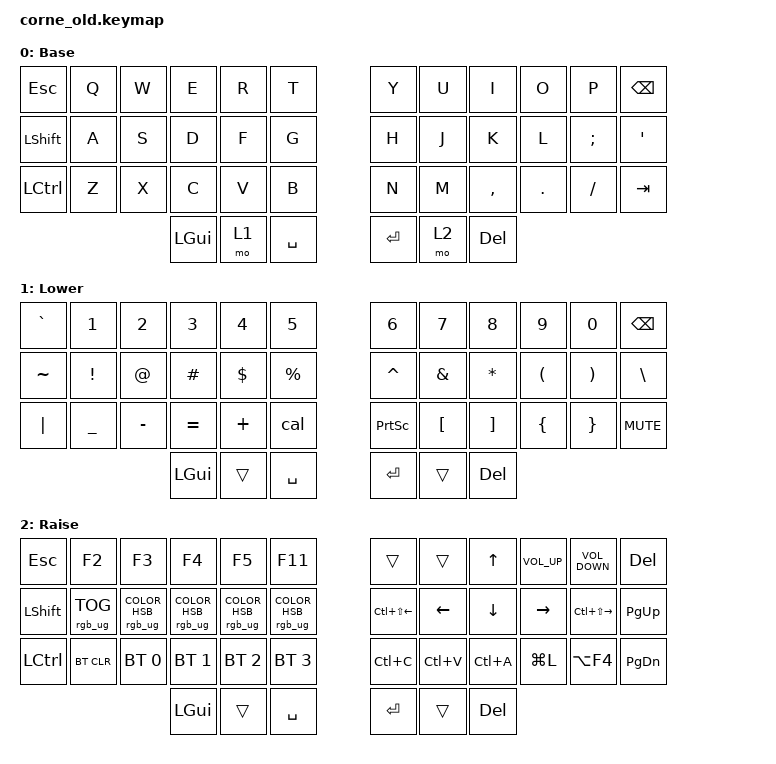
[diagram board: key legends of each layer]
/*
 * Copyright (c) 2020 The ZMK Contributors
 *
 * SPDX-License-Identifier: MIT
 */

#include <behaviors.dtsi>
#include <dt-bindings/zmk/bt.h>
#include <dt-bindings/zmk/keys.h>
#include <dt-bindings/zmk/rgb.h>

&led_strip { chain-length = <27>; };

/ {
    macros {
        cal: cal {
            compatible = "zmk,behavior-macro";
            #binding-cells = <0>;
            bindings = <&kp FSLH &kp C &kp A &kp L &kp I &kp F &kp I &kp C &kp A &kp C &kp I &kp O &kp N>;
            label = "CAL";
        };
    };

    keymap {
        compatible = "zmk,keymap";

        default_layer {
            // -----------------------------------------------------------------------------------------
            // |  TAB |  Q  |  W  |  E  |  R  |  T  |   |  Y  |  U   |  I  |  O  |  P  | BKSP |
            // | CTRL |  A  |  S  |  D  |  F  |  G  |   |  H  |  J   |  K  |  L  |  ;  |  '   |
            // | SHFT |  Z  |  X  |  C  |  V  |  B  |   |  N  |  M   |  ,  |  .  |  /  | ESC  |
            //                    | GUI | LWR | SPC |   | ENT | RSE  | ALT |

            display-name = "Base";
            bindings = <
&kp ESCAPE        &kp Q  &kp W  &kp E     &kp R  &kp T        &kp Y      &kp U  &kp I       &kp O    &kp P     &kp BSPC
&kp LEFT_SHIFT    &kp A  &kp S  &kp D     &kp F  &kp G        &kp H      &kp J  &kp K       &kp L    &kp SEMI  &kp SQT
&kp LEFT_CONTROL  &kp Z  &kp X  &kp C     &kp V  &kp B        &kp N      &kp M  &kp COMMA   &kp DOT  &kp FSLH  &kp TAB
                                &kp LGUI  &mo 1  &kp SPACE    &kp ENTER  &mo 2  &kp DELETE
            >;
        };

        lower_layer {
            // -----------------------------------------------------------------------------------------
            // |  TAB |  1  |  2  |  3  |  4  |  5  |   |  6  |  7  |  8  |  9  |  0  | BKSP |
            // | BTCLR| BT1 | BT2 | BT3 | BT4 | BT5 |   | LFT | DWN |  UP | RGT |     |      |
            // | SHFT |     |     |     |     |     |   |     |     |     |     |     |      |
            //                    | GUI |     | SPC |   | ENT |     | ALT |

            display-name = "Lower";
            bindings = <
&kp GRAVE  &kp N1     &kp NUMBER_2  &kp NUMBER_3  &kp NUMBER_4  &kp N5         &kp NUMBER_6     &kp N7            &kp N8             &kp N9                &kp N0                 &kp BSPC
&kp TILDE  &kp EXCL   &kp AT        &kp HASH      &kp DOLLAR    &kp PERCENT    &kp CARET        &kp AMPERSAND     &kp ASTERISK       &kp LEFT_PARENTHESIS  &kp RIGHT_PARENTHESIS  &kp BACKSLASH
&kp PIPE   &kp UNDER  &kp MINUS     &kp EQUAL     &kp PLUS      &cal           &kp PRINTSCREEN  &kp LEFT_BRACKET  &kp RIGHT_BRACKET  &kp LEFT_BRACE        &kp RIGHT_BRACE        &kp K_MUTE
                                    &kp LGUI      &trans        &kp SPACE      &kp RET          &trans            &kp DELETE
            >;
        };

        raise_layer {
            // -----------------------------------------------------------------------------------------
            // |  TAB |  !  |  @  |  #  |  $  |  %  |   |  ^  |  &  |  *  |  (  |  )  | BKSP |
            // | CTRL |     |     |     |     |     |   |  -  |  =  |  [  |  ]  |  \  |  `   |
            // | SHFT |     |     |     |     |     |   |  _  |  +  |  {  |  }  | "|" |  ~   |
            //                    | GUI |     | SPC |   | ENT |     | ALT |

            display-name = "Raise";
            bindings = <
&kp ESCAPE        &kp F2           &kp F3                          &kp F4                           &kp F5                             &kp F11                              &trans            &trans     &kp UP_ARROW  &kp C_VOLUME_UP  &kp C_VOLUME_DOWN  &kp DELETE
&kp LEFT_SHIFT    &rgb_ug RGB_TOG  &rgb_ug RGB_COLOR_HSB(46,0,40)  &rgb_ug RGB_COLOR_HSB(42,42,35)  &rgb_ug RGB_COLOR_HSB(200,100,50)  &rgb_ug RGB_COLOR_HSB(116,100,50)    &kp LC(LS(LEFT))  &kp LEFT   &kp DOWN      &kp RIGHT        &kp LC(LS(RIGHT))  &kp PAGE_UP
&kp LEFT_CONTROL  &bt BT_CLR       &bt BT_SEL 0                    &bt BT_SEL 1                     &bt BT_SEL 2                       &bt BT_SEL 3                         &kp LC(C)         &kp LC(V)  &kp LC(A)     &kp LG(L)        &kp LA(F4)         &kp PAGE_DOWN
                                                                   &kp LGUI                         &trans                             &kp SPACE                            &kp RET           &trans     &kp DELETE
            >;
        };
    };
};
